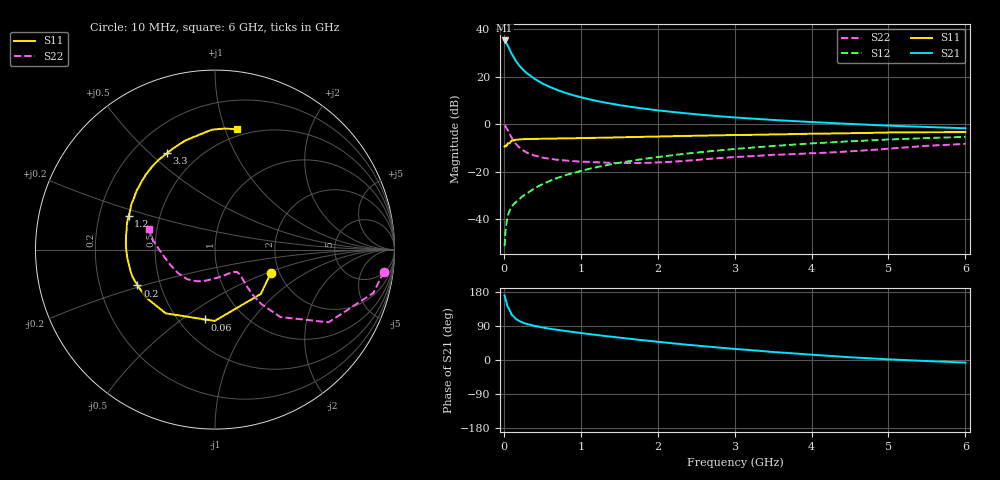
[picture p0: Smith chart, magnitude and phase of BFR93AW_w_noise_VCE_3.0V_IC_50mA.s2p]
! Infineon Technologies  Discrete & RF Semiconductors
! BFR93AW
! VCE =  3.0 V,  IC =  50 mA
! Common Emitter S-Parameters:  Jan 2017
# GHz  S  MA  R  50
!  f  S11  S21  S12  S22
! GHz  MAG  ANG  MAG  ANG  MAG  ANG  MAG  ANG
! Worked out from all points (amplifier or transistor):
!   77 points, 10 MHz to 6 GHz, reference 50 ohm
!   highest |S21| = 35.3 dB at 10 MHz (marker M1)
!   |S21| within 3 dB of that: start of sweep to 63.81 MHz
!   unconditionally stable (mu >= 1): 395.3 MHz to 2.105 GHz
!   at 130 MHz: K = 0.66, MSG = 30.9 dB, |S12| = -33.6 dB
!   at 2.2 GHz: K = 0.99, MSG = 9.1 dB, |S12| = -13.0 dB
!   at 6 GHz: K = 0.91, MSG = 1.8 dB, |S12| = -5.3 dB
!   lowest NFmin = 2.30 dB at 450 MHz
!   S11 on the Smith chart (normalised r, x): 10 MHz: 1.80, -0.54; 60 MHz: 0.67, -0.61; 200 MHz: 0.37, -0.19; 1.2 GHz: 0.33, +0.17; 3.3 GHz: 0.34, +0.57; 6 GHz: 0.44, +1.10
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0.01  0.3375 -23.0  57.92 170.5  0.0027 74.0  0.9481 -7.5
0.02  0.3551 -44.2  56.7 161.6  0.0051 82.1  0.915 -15.3
0.05  0.3975 -90.3  45.53 139.9  0.0117 65.6  0.7514 -32.6
0.06  0.3931 -98.3  42.24 137.0  0.013 63.9  0.7034 -34.6
0.1  0.449 -127.7  30.7 119.7  0.0183 59.7  0.5232 -45.9
0.15  0.4677 -145.1  22.2 109.3  0.0225 60.5  0.3958 -49.7
0.2  0.4759 -155.2  17.2 102.9  0.0263 63.2  0.3243 -50.1
0.25  0.4841 -161.9  14.02 98.3  0.031 65.9  0.2816 -49.4
0.3  0.486 -166.7  11.78 95.1  0.0349 67.6  0.2514 -48.3
0.4  0.49 -173.6  8.967 89.9  0.0447 70.0  0.218 -46.4
0.5  0.4937 -179.0  7.217 86.0  0.0544 71.7  0.1978 -45.3
0.7  0.4996 173.6  5.21 79.5  0.0741 72.7  0.1776 -45.4
0.9  0.5047 166.9  4.076 73.8  0.0935 72.0  0.1671 -48.2
1.1  0.5135 161.6  3.374 68.7  0.1137 71.5  0.1606 -52.2
1.2  0.5162 158.9  3.106 66.1  0.1235 70.8  0.1577 -54.4
1.6  0.5325 149.6  2.383 56.8  0.1633 68.1  0.1527 -67.7
2.1  0.5532 138.9  1.879 46.1  0.213 63.6  0.159 -88.6
3.1  0.593 120.2  1.353 27.7  0.3093 53.7  0.2071 -122.6
3.3  0.5996 116.6  1.288 24.6  0.328 51.6  0.2158 -128.1
4.1  0.632 103.8  1.09 12.6  0.4013 42.7  0.2477 -151.1
5.1  0.6695 90.1  0.918 0.9  0.4818 31.4  0.3133 179.4
6  0.6815 79.8  0.82 -6.9  0.5419 21.3  0.3851 162.9
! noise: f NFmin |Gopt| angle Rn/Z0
0.45  2.3  0.26  -178  0.17
0.9  2.59  0.31  -167  0.18
1.9  3.72  0.53  -132  0.42
2.4  4.45  0.58  -122  0.79
